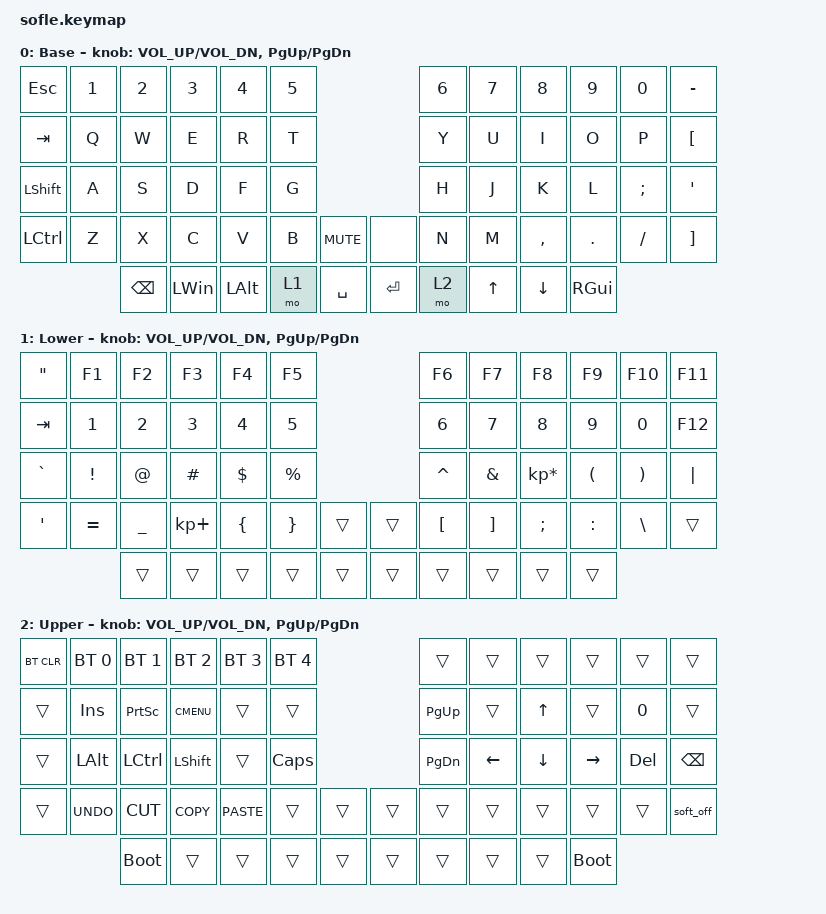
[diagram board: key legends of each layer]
/*
 * Copyright (c) 2020 The ZMK Contributors
 *
 * SPDX-License-Identifier: MIT
 */

#include <behaviors.dtsi>
#include <dt-bindings/zmk/bt.h>
#include <dt-bindings/zmk/keys.h>

/ {
    keymap {
        compatible = "zmk,keymap";

        default_layer {
            display-name = "Base";

            // ------------------------------------------------------------------------------------------------------------
            // |  ESC  |  1  |  2  |  3   |  4   |  5   |                   |  6   |  7    |  8    |  9   |   0   | BKSPC  |
            // |  TAB  |  Q  |  W  |  E   |  R   |  T   |                   |  Y   |  U    |  I    |  O   |   P   |  DEL  |
            // | Minus |  A  |  S  |  D   |  F   |  G   |                   |  H   |  J    |  K    |  L   |   ;   |   @   |
            // | SHIFT |  Z  |  X  |  C   |  V   |  B   |  MUTE  |  |       |  N   |  M    |  ,    |  .   |   /   | SHIFT |
            //               | GUI | ALT  | CTRL | LOWER|  ENTER |  | SPACE | RAISE| CTRL  | ALT   | GUI  |

            bindings = <
&kp ESC         &kp N1  &kp N2         &kp N3        &kp N4        &kp N5                            &kp N6  &kp N7        &kp N8          &kp N9    &kp N0    &kp MINUS
&kp TAB         &kp Q   &kp W          &kp E         &kp R         &kp T                             &kp Y   &kp U         &kp I           &kp O     &kp P     &kp LEFT_BRACKET
&kp LEFT_SHIFT  &kp A   &kp S          &kp D         &kp F         &kp G                             &kp H   &kp J         &kp K           &kp L     &kp SEMI  &kp SINGLE_QUOTE
&kp LCTRL       &kp Z   &kp X          &kp C         &kp V         &kp B   &kp C_MUTE    &none       &kp N   &kp M         &kp COMMA       &kp DOT   &kp FSLH  &kp RIGHT_BRACKET
                        &kp BACKSPACE  &kp LEFT_WIN  &kp LEFT_ALT  &mo 1   &kp SPACE     &kp RETURN  &mo 2   &kp UP_ARROW  &kp DOWN_ARROW  &kp RGUI
            >;

            sensor-bindings = <&inc_dec_kp C_VOL_UP C_VOL_DN &inc_dec_kp PG_UP PG_DN>;
        };

        lower_layer {
            display-name = "Lower";

            // TODO: Some binds are waiting for shifted keycode support.
            // ------------------------------------------------------------------------------------------------------------
            // |   "   |  F1 |  F2 |  F3  |  F4  |  F5  |                   |  F6  |  F7   |  F8   |  F9  |  F10  |  F11  |
            // |  TAB  |   1 |   2 |   3  |   4  |   5  |                   |   6  |   7   |   8   |   9  |    0  |  F12  |
            // |   `   |  !  |  @  |  #   |  $   |  %   |                   |  ^   |  &    |  *    |  (   |   )   |   |   |
            // |   '   |  =  |  _  |  +   |  {   |  }   |        |  |       |  [   |  ]    |  ;    |  :   |   \   |       |
            //               |     |      |      |      |        |  |       |      |       |       |      |

            bindings = <
&kp DQT    &kp F1     &kp F2     &kp F3       &kp F4    &kp F5                       &kp F6     &kp F7    &kp F8           &kp F9     &kp F10   &kp F11
&kp TAB    &kp N1     &kp N2     &kp N3       &kp N4    &kp N5                       &kp N6     &kp N7    &kp N8           &kp N9     &kp N0    &kp F12
&kp GRAVE  &kp EXCL   &kp AT     &kp HASH     &kp DLLR  &kp PRCNT                    &kp CARET  &kp AMPS  &kp KP_MULTIPLY  &kp LPAR   &kp RPAR  &kp PIPE
&kp SQT    &kp EQUAL  &kp UNDER  &kp KP_PLUS  &kp LBRC  &kp RBRC   &trans    &trans  &kp LBKT   &kp RBKT  &kp SEMI         &kp COLON  &kp BSLH  &trans
                      &trans     &trans       &trans    &trans     &trans    &trans  &trans     &trans    &trans           &trans
            >;

            sensor-bindings = <&inc_dec_kp C_VOL_UP C_VOL_DN &inc_dec_kp PG_UP PG_DN>;
        };

        raise_layer {
            display-name = "Upper";

            // ------------------------------------------------------------------------------------------------------------
            // |BTCLR| BT1  | BT2  |  BT3  |  BT4  |  BT5 |                |      |      |       |      |       |       |
            // |     | INS  | PSCR | GUI   |       |      |                | PGUP |      |   ^   |      |       |       |
            // |     | ALT  | CTRL | SHIFT |       | CAPS |                | PGDN |   <- |   v   |  ->  |  DEL  | BKSPC |
            // |     | UNDO | CUT  | COPY  | PASTE |      |      |  |      |      |      |       |      |       | S OFF |
            //              | BLD  |       |       |      |      |  |      |      |      |       | BLD  |

            bindings = <
&bt BT_CLR  &bt BT_SEL 0  &bt BT_SEL 1  &bt BT_SEL 2  &bt BT_SEL 3  &bt BT_SEL 4                    &trans     &trans    &trans    &trans       &trans   &trans
&trans      &kp INS       &kp PSCRN     &kp K_CMENU   &trans        &trans                          &kp PG_UP  &trans    &kp UP    &trans       &kp N0   &trans
&trans      &kp LALT      &kp LCTRL     &kp LSHFT     &trans        &kp CLCK                        &kp PG_DN  &kp LEFT  &kp DOWN  &kp RIGHT    &kp DEL  &kp BSPC
&trans      &kp K_UNDO    &kp K_CUT     &kp K_COPY    &kp K_PASTE   &trans        &trans    &trans  &trans     &trans    &trans    &trans       &trans   &soft_off
                          &bootloader   &trans        &trans        &trans        &trans    &trans  &trans     &trans    &trans    &bootloader
            >;

            sensor-bindings = <&inc_dec_kp C_VOL_UP C_VOL_DN &inc_dec_kp PG_UP PG_DN>;
        };
    };
};
